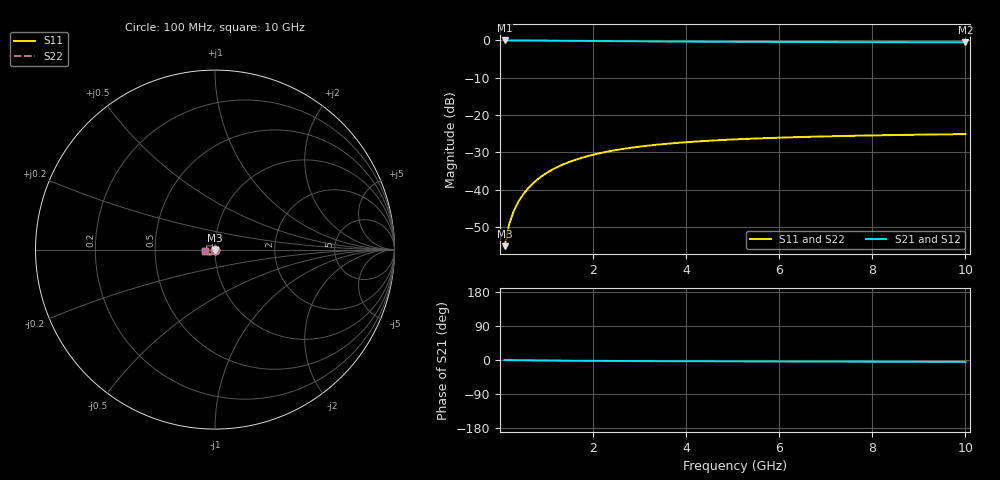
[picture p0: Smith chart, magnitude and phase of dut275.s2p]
! Touchstone file exported from HFSS 2024.1.0
!  File:  C:/UserFiles/LocalFiles/RDL_TSV_Batchsim/temp_TSV1_275_1779392736.aedt
!  Generated:  03:49:55 AM May 22, 2026
!  Design:  TSV1
!  Project:  temp_TSV1_275_1779392736
!  Setup:  Setup1
!  Solution:  Sweep
! Variables:
!  dtsv = 14.87um
!  hbump = 3um
!  htsv = 74.8um
!  lrdl = 252.1521522um
!  p = 40
!  p1 = 55.86um
!  t = 500um
!  trdl = 3um
!  wrdl = 24.89489489um
# GHz S MA R 50.000000
! Terminal data exported
! Port[1] = TSV22_T1
! Port[2] = TSV22_T2
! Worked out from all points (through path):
!   100 points, 100 MHz to 10 GHz, reference 50 ohm
!   highest |S21| = 0.00 dB at 100 MHz (marker M1); lowest = -0.5 dB at 10 GHz (marker M2)
!   lowest |S11| = -55.2 dB at 100 MHz (marker M3), VSWR 1.00, Z = 50 - j0.174 ohm
!   |S11| at or under -10 dB: start of sweep to end of sweep
!   |S22| runs from -55.2 to -25.1 dB; largest |S21 - S12| = 4.2e-15
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0.1  0.001739 -89.4  0.9999 -0.1  0.9999 -0.1  0.001739 -89.4
! Gamma 0 0 0 0
! Port Impedance 50 0 50 0
0.2  0.003476 -92.4  0.9997 -0.3  0.9997 -0.3  0.003476 -92.4
0.3  0.00521 -94.7  0.9994 -0.4  0.9994 -0.4  0.00521 -94.7
0.4  0.00693 -96.8  0.9989 -0.6  0.9989 -0.6  0.00693 -96.8
0.5  0.00863 -98.8  0.9984 -0.7  0.9984 -0.7  0.00863 -98.8
0.6  0.0103 -100.8  0.9978 -0.8  0.9978 -0.8  0.0103 -100.8
0.7  0.01194 -102.7  0.9971 -1.0  0.9971 -1.0  0.01194 -102.7
0.8  0.01355 -104.6  0.9963 -1.1  0.9963 -1.1  0.01355 -104.6
0.9  0.01511 -106.4  0.9955 -1.2  0.9955 -1.2  0.01511 -106.4
1.1  0.01811 -109.9  0.9936 -1.5  0.9936 -1.5  0.01811 -109.9
1.4  0.02226 -114.9  0.9905 -1.8  0.9905 -1.8  0.02226 -114.9
1.6  0.02478 -118.0  0.9883 -2.0  0.9883 -2.0  0.02478 -118.0
1.8  0.02711 -120.9  0.986 -2.1  0.986 -2.1  0.02711 -120.9
2.1  0.03027 -125.0  0.9827 -2.3  0.9827 -2.3  0.03027 -125.0
2.5  0.03389 -129.8  0.9784 -2.6  0.9784 -2.6  0.03389 -129.8
2.9  0.03694 -134.1  0.9744 -2.8  0.9744 -2.8  0.03694 -134.1
3.4  0.04009 -138.7  0.97 -3.0  0.97 -3.0  0.04009 -138.7
4.2  0.044 -144.9  0.9642 -3.3  0.9642 -3.3  0.044 -144.9
5.1  0.04722 -150.5  0.959 -3.6  0.959 -3.6  0.04722 -150.5
6.7  0.0511 -158.2  0.9525 -4.0  0.9525 -4.0  0.0511 -158.2
8.4  0.05373 -164.4  0.948 -4.5  0.948 -4.5  0.05373 -164.4
10  0.05541 -169.1  0.945 -5.0  0.945 -5.0  0.05541 -169.1
